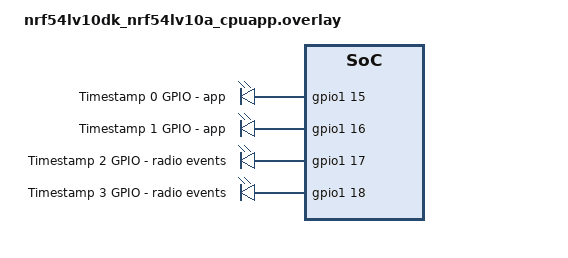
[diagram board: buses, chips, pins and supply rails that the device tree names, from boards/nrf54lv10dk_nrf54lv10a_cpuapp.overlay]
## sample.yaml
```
sample:
  name: CPU block during radio test

tests:
  tests.benchmarks.cpu_block_during_radio.no_blocking:
    platform_allow:
      - nrf54lv10dk/nrf54lv10a/cpuapp
    integration_platforms:
      - nrf54lv10dk/nrf54lv10a/cpuapp
  tests.benchmarks.cpu_block_during_radio.ns.force_rram_on:
    platform_allow:
      - nrf54lv10dk/nrf54lv10a/cpuapp/ns
    integration_platforms:
      - nrf54lv10dk/nrf54lv10a/cpuapp/ns
    extra_args:
      - CONFIG_MPSL_FORCE_RRAM_ON_ALL_THE_TIME=y
  tests.benchmarks.cpu_block_during_radio.ns.force_rram_off:
    platform_allow:
      - nrf54lv10dk/nrf54lv10a/cpuapp/ns
    integration_platforms:
      - nrf54lv10dk/nrf54lv10a/cpuapp/ns
    extra_args:
      - CONFIG_MPSL_FORCE_RRAM_ON_ALL_THE_TIME=n
```

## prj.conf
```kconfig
#
# Copyright (c) 2025 Nordic Semiconductor ASA
#
# SPDX-License-Identifier: LicenseRef-Nordic-5-Clause
#
CONFIG_NCS_SAMPLES_DEFAULTS=y

CONFIG_BT=y

CONFIG_LOG=n
CONFIG_CONSOLE=n
CONFIG_UART_CONSOLE=n
CONFIG_SERIAL=n
CONFIG_PRINTK=n

# Enable MPSL pin debug to toggle GPIOs upon radio events
CONFIG_MPSL_PIN_DEBUG=y
# Use GPIO P1.17 and P1.18 (timestamp2 and timestamp3) for radio events
CONFIG_MPSL_PIN_DEBUG_RADIO_READY_AND_DISABLED_PIN=49
CONFIG_MPSL_PIN_DEBUG_RADIO_ADDRESS_AND_END_PIN=50
```

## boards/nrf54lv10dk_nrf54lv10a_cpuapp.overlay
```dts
/*
 * Copyright (c) 2025 Nordic Semiconductor ASA
 *
 * SPDX-License-Identifier: LicenseRef-Nordic-5-Clause
 */

/ {
	timestamps {
		compatible = "gpio-leds";
		timestamp0: timestamp_0 {
			gpios = < &gpio1 15 GPIO_ACTIVE_HIGH >;
			label = "Timestamp 0 GPIO - app";
		};

		timestamp1: timestamp_1 {
			gpios = < &gpio1 16 GPIO_ACTIVE_HIGH >;
			label = "Timestamp 1 GPIO - app";
		};

		timestamp2: timestamp_2 {
			gpios = < &gpio1 17 GPIO_ACTIVE_HIGH >;
			label = "Timestamp 2 GPIO - radio events";
		};

		timestamp3: timestamp_3 {
			gpios = < &gpio1 18 GPIO_ACTIVE_HIGH >;
			label = "Timestamp 3 GPIO - radio events";
		};
	};

	aliases {
		timestamp0 = &timestamp0;
		timestamp1 = &timestamp1;
		timestamp2 = &timestamp2;
		timestamp3 = &timestamp3;
	};
};
```

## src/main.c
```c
/*
 * Copyright (c) 2025 Nordic Semiconductor ASA
 *
 * SPDX-License-Identifier: LicenseRef-Nordic-5-Clause
 */

#include <zephyr/types.h>
#include <stddef.h>
#include <zephyr/sys/printk.h>
#include <zephyr/sys/util.h>

#include <zephyr/drivers/gpio.h>

#include <zephyr/bluetooth/bluetooth.h>
#include <zephyr/bluetooth/hci.h>

/* Set iBeacon demo advertisement data for the test. */
static const struct bt_data ad[] = {
	BT_DATA_BYTES(BT_DATA_FLAGS, BT_LE_AD_NO_BREDR),
	BT_DATA_BYTES(BT_DATA_MANUFACTURER_DATA,
		      0x4c, 0x00, /* Apple */
		      0x02, 0x15, /* iBeacon */
		      0x18, 0xee, 0x15, 0x16, /* UUID[15..12] */
		      0x01, 0x6b, /* UUID[11..10] */
		      0x4b, 0xec, /* UUID[9..8] */
		      0xad, 0x96, /* UUID[7..6] */
		      0xbc, 0xb9, 0x6d, 0x16, 0x6e, 0x97, /* UUID[5..0] */
		      0x00, 0x00, /* Major */
		      0x00, 0x00, /* Minor */
		      0xc8) /* Calibrated RSSI @ 1m */
};

/* Timestamp GPIO */

#define TIMESTAMP_COUNT 2

enum timestamp {
	TIMESTAMP_CPU_BUSY,
	TIMESTAMP_CPU_SLEEP,
};

#define _TIMESTAMP_GPIO_DT_SPEC_GET(_idx, ...)  GPIO_DT_SPEC_GET(DT_ALIAS(timestamp ## _idx), gpios)

static const struct gpio_dt_spec timestamps[] = {
	LISTIFY(TIMESTAMP_COUNT, _TIMESTAMP_GPIO_DT_SPEC_GET, (,), )
};

static uint64_t timestamp_start[ARRAY_SIZE(timestamps)];

static int timestamp_init_gpio(const struct gpio_dt_spec *gpio) {
	int ret;

	if (!device_is_ready(gpio->port)) {
		printk("Cannot initialize \"%s\"!\n", gpio->port->name);
		return -ENODEV;
	}

	ret = gpio_pin_configure_dt(gpio, GPIO_OUTPUT_ACTIVE);
	if (ret != 0) {
		printk("Cannot initialize timestamp GPIO \"%s\" (ret %d)!\n", gpio->port->name, ret);
		return ret;
	}

	ret = gpio_pin_set_dt(gpio, 0);
	if (ret != 0) {
		printk("Cannot set timestamp GPIO \"%s\" (ret %d)!\n", gpio->port->name, ret);
		return ret;
	}

	return 0;
}

static int timestamp_init(void)
{
	int ret;

	for (size_t i = 0; i < ARRAY_SIZE(timestamps); i++) {
		ret = timestamp_init_gpio(&timestamps[i]);
		if (ret != 0) {
			printk("Cannot initialize timestamp %d GPIO %d!\n", i, ret);
			return ret;
		}
	}

	return 0;
}

static void timestamp_set_gpio(const struct gpio_dt_spec *gpio, bool set)
{
	int ret = gpio_pin_set_dt(gpio, set ? 1 : 0);
	if (ret != 0) {
		printk("Cannot set timestamp GPIO \"%s\" (ret %d)!\n", gpio->port->name, ret);
	}
}

static uint64_t uptime_us(void)
{
	uint64_t cycles = k_cycle_get_64();
	return (uint64_t)k_cyc_to_us_near64(cycles);
}

static void timestamp_set(enum timestamp ts, bool set)
{
	__ASSERT(ts < ARRAY_SIZE(timestamps), "Timestamp index out of bounds");

	if (set) {
		timestamp_start[ts] = uptime_us();
		timestamp_set_gpio(&timestamps[ts], true);
	} else {
		timestamp_set_gpio(&timestamps[ts], false);
		printk("Timestamp %d: %lld\n", ts, (uptime_us() - timestamp_start[ts]));
		timestamp_start[ts] = 0;
	}
}

/* Simulate CPU busy by doing a heavy floating-point workload */
static void busy_cpu_math(void)
{
	static float a = 1.01f;
	static float b = 1.001f;
	static float c = 0.0f;

	for (int i = 0; i < 100000; i++) {
		c += a * b;
		if (c > 10000.0f) {
			c = 0.0f;
		}
	}
}

static void busy_thread_entry(void *p1, void *p2, void *p3)
{
	printk("Busy thread started\n");

	while (1) {
		printk("==> Busy work start\n");
		timestamp_set(TIMESTAMP_CPU_BUSY, true);
		busy_cpu_math();
		timestamp_set(TIMESTAMP_CPU_BUSY, false);
		printk("<== Busy work end\n");

		printk("==> Sleeping\n");
		timestamp_set(TIMESTAMP_CPU_SLEEP, true);
		k_msleep(2000);
		timestamp_set(TIMESTAMP_CPU_SLEEP, false);
		printk("<== Sleeping done\n");
	}
}

static K_THREAD_STACK_DEFINE(busy_thread_stack, 1024);
static struct k_thread busy_thread;

static void bt_ready(int err)
{
	if (err) {
		printk("Bluetooth init failed (err %d)\n", err);
		return;
	}

	printk("Bluetooth initialized\n");

	/* Start non-connectable advertising with 50 ms advertisement interval. */
	err = bt_le_adv_start(BT_LE_ADV_PARAM(0, 0x0050, 0x0050, NULL),
			      ad, ARRAY_SIZE(ad), NULL, 0);
	if (err) {
		printk("Advertising failed to start (err %d)\n", err);
		return;
	}

	printk("iBeacon advertisement started\n");

	/* Start CPU load thread */
	k_thread_create(&busy_thread,
		busy_thread_stack,
		1024,
		busy_thread_entry,
		NULL, NULL, NULL,
		K_PRIO_PREEMPT(5), 0, K_NO_WAIT);
}

int main(void)
{
	int err;

	err = timestamp_init();
	if (err) {
		printk("timestamp_init failed (err %d)\n", err);
		return err;
	}

	printk("Starting CPU block during radio test\n");

	/* Initialize the Bluetooth Subsystem */
	err = bt_enable(bt_ready);
	if (err) {
		printk("Bluetooth init failed (err %d)\n", err);
	}
	return 0;
}
```
